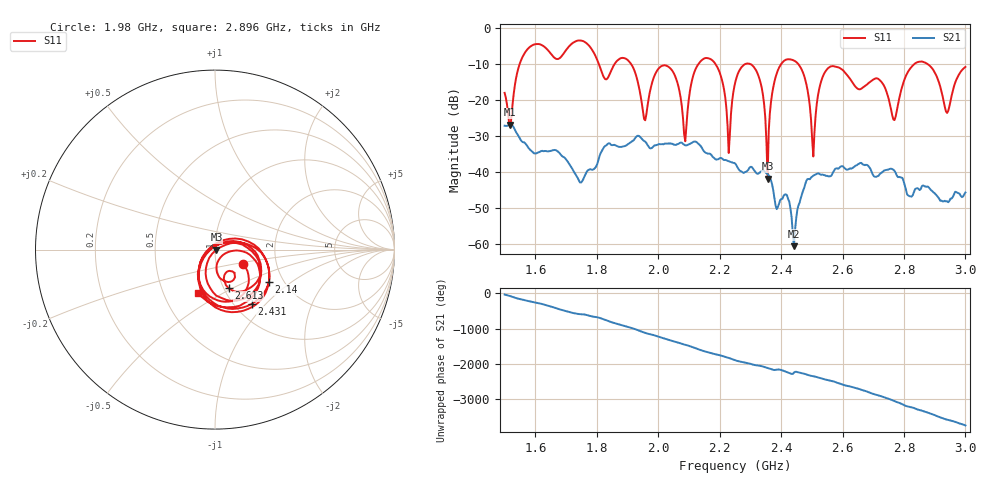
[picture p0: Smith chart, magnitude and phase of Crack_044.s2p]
# HZ S RI R 50
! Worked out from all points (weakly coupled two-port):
!   404 points, 1.5 GHz to 3 GHz, reference 50 ohm
!   highest |S21| = -26.86 dB at 1.519 GHz (marker M1); lowest = -60.6 dB at 2.442 GHz (marker M2)
!   lowest |S11| = -41.9 dB at 2.356 GHz (marker M3), VSWR 1.02, Z = 50.8 - j0.0224 ohm
!   |S11| at or under -10 dB: 1.911 GHz to 2.131 GHz (220 MHz wide, 10.9 % of centre); 2.455 GHz to 2.834 GHz (379 MHz wide, 14.3 % of centre); 2.876 GHz to end of sweep (the widest 3 of 7)
!   S12 and S22 are empty: the file has one direction only
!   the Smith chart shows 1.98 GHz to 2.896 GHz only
!   S11 on the Smith chart (normalised r, x): 1.98 GHz: 1.34, -0.22; 2.14 GHz: 1.68, -0.69; 2.431 GHz: 1.19, -0.84; 2.613 GHz: 1.05, -0.48; 2.896 GHz: 0.74, -0.39
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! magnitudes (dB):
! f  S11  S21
! 1.5 GHz  -18.0  -27.2
! 1.519 GHz  -27.6  -26.9
! 1.578 GHz  -5.6  -33.4
! 1.753 GHz  -3.6  -42.5
! 1.954 GHz  -25.3  -31.4
! 1.98 GHz  -15.2  -33.3
! 2.002 GHz  -11.2  -32.3
! 2.088 GHz  -31.5  -32.6
! 2.14 GHz  -9.1  -33.0
! 2.23 GHz  -34.7  -37.0
! 2.252 GHz  -14.8  -37.8
! 2.315 GHz  -11.3  -39.9
! 2.356 GHz  -41.9  -40.7
! 2.431 GHz  -8.7  -50.2
! 2.442 GHz  -9.1  -60.6
! 2.501 GHz  -31.0  -41.3
! 2.542 GHz  -12.4  -40.9
! 2.613 GHz  -12.9  -39.4
! 2.751 GHz  -19.8  -39.3
! 2.896 GHz  -11.7  -45.7
! 2.94 GHz  -23.6  -48.1
! 3 GHz  -10.8  -45.7
